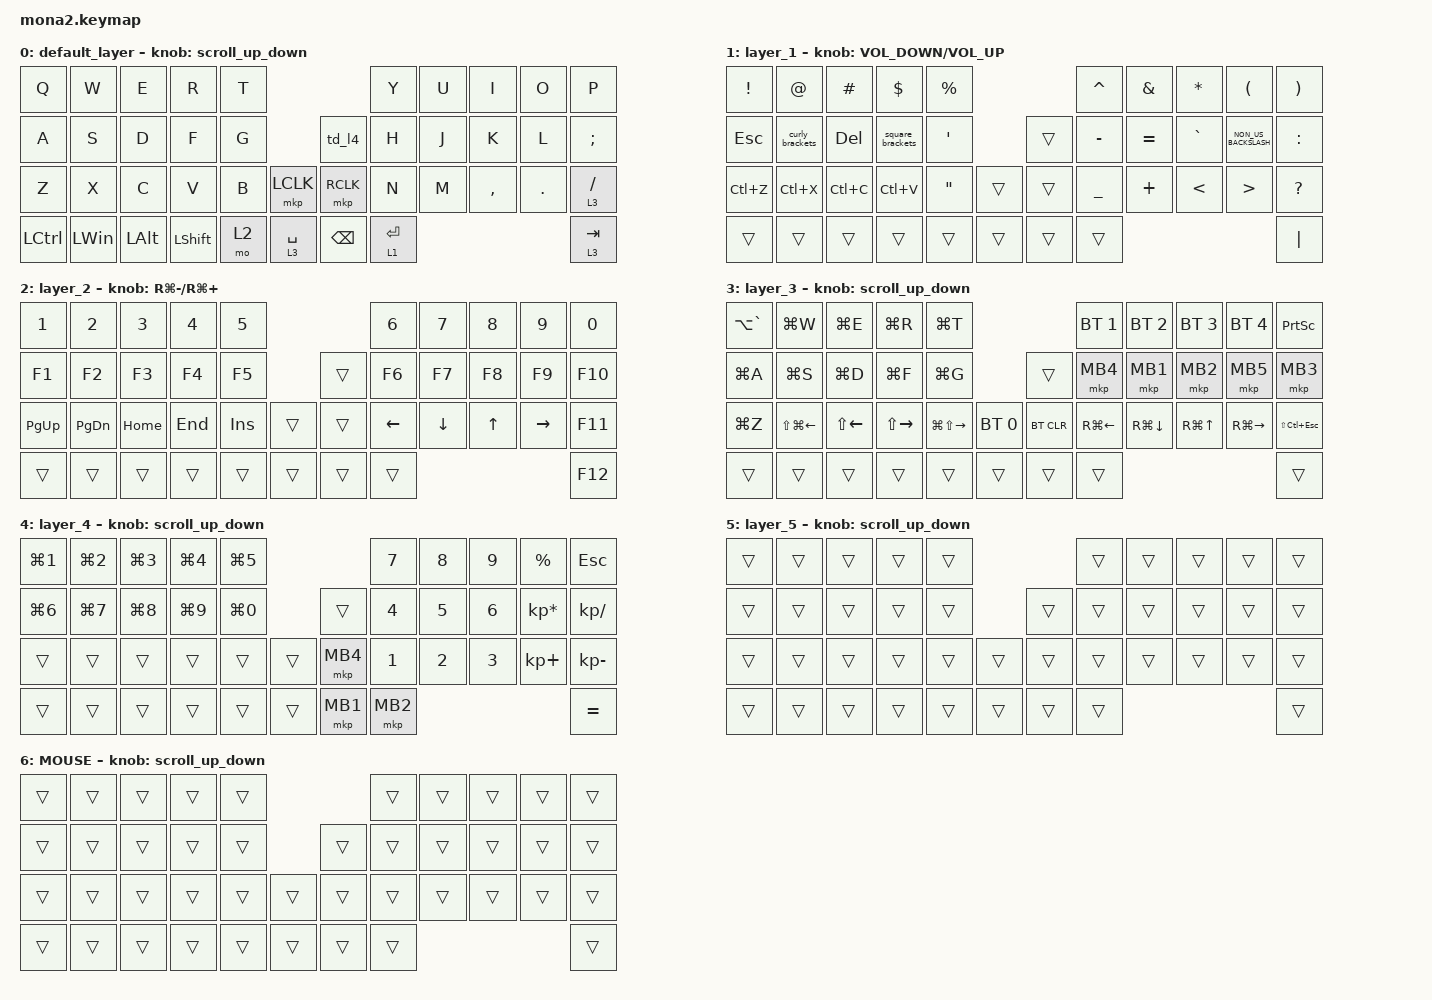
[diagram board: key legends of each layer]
#include <behaviors.dtsi>
#include <dt-bindings/zmk/bt.h>
#include <dt-bindings/zmk/keys.h>
#include <dt-bindings/zmk/pointing.h>

#define ZMK_POINTING_DEFAULT_SCRL_VAL 100
#define MOUSE 6

&mt {
    flavor = "balanced";
    quick-tap-ms = <175>;
    require-prior-idle-ms = <150>;
};

&lt {
    flavor = "hold-preferred";
    tapping-term-ms = <200>;
    quick-tap-ms = <200>;
    require-prior-idle-ms = <100>;
};

/ {
    combos { compatible = "zmk,combos"; };

    macros {
        to_layer_0: to_layer_0 {
            compatible = "zmk,behavior-macro-one-param";
            #binding-cells = <1>;
            bindings = <&to 0 &macro_param_1to1 &kp MACRO_PLACEHOLDER>;
            label = "TO_LAYER_0";
        };

        curly_brackets: curly_brackets {
            compatible = "zmk,behavior-macro";
            #binding-cells = <0>;
            bindings = <&kp LEFT_BRACE &kp RIGHT_BRACE &kp LEFT>;
            label = "CURLY_BRACKETS";
        };

        square_brackets: square_brackets {
            compatible = "zmk,behavior-macro";
            #binding-cells = <0>;
            bindings = <&kp LEFT_BRACKET &kp RIGHT_BRACKET &kp LEFT>;
            label = "SQUARE_BRACKETS";
        };
    };

    behaviors {
        lt_to_layer_0: lt_to_layer_0 {
            compatible = "zmk,behavior-hold-tap";
            label = "LAYER_TAP_TO_0";
            bindings = <&mo>, <&to_layer_0>;

            #binding-cells = <2>;
            tapping-term-ms = <200>;
        };

        scroll_up_down: behavior_sensor_rotate_mouse_wheel_up_down {
            compatible = "zmk,behavior-sensor-rotate";
            #sensor-binding-cells = <0>;
            bindings = <&msc SCRL_UP>, <&msc SCRL_DOWN>;

            tap-ms = <20>;
        };

        td_l4: td_l4 {
            compatible = "zmk,behavior-tap-dance";
            label = "TD_L4";
            #binding-cells = <0>;
            tapping-term-ms = <200>;
            bindings = <&kp MINUS>, <&tog 4>;
        };
    };

    keymap {
        compatible = "zmk,keymap";

        default_layer {
            bindings = <
&kp Q      &kp W         &kp E         &kp R           &kp T                                &kp Y        &kp U  &kp I      &kp O       &kp P
&kp A      &kp S         &kp D         &kp F           &kp G                 &td_l4         &kp H        &kp J  &kp K      &kp L       &kp SEMICOLON
&kp Z      &kp X         &kp C         &kp V           &kp B  &mkp LCLK      &mkp RCLK      &kp N        &kp M  &kp COMMA  &kp PERIOD  &lt 3 SLASH
&kp LCTRL  &kp LEFT_WIN  &kp LEFT_ALT  &kp LEFT_SHIFT  &mo 2  &lt 3 SPACE    &kp BACKSPACE  &lt 1 ENTER                                &lt 3 TAB
            >;

            sensor-bindings = <&scroll_up_down>;
        };

        layer_1 {
            bindings = <
&kp EXCLAMATION  &kp AT_SIGN      &kp HASH    &kp DOLLAR        &kp PERCENT                          &kp CARET       &kp AMPERSAND  &kp ASTERISK   &kp LEFT_PARENTHESIS  &kp RIGHT_PARENTHESIS
&kp ESCAPE       &curly_brackets  &kp DELETE  &square_brackets  &kp SQT                      &trans  &kp MINUS       &kp EQUAL      &kp GRAVE      &kp NON_US_BACKSLASH  &kp COLON
&kp LC(Z)        &kp LC(X)        &kp LC(C)   &kp LC(V)         &kp DOUBLE_QUOTES  &trans    &trans  &kp UNDERSCORE  &kp PLUS       &kp LESS_THAN  &kp GREATER_THAN      &kp QUESTION
&trans           &trans           &trans      &trans            &trans             &trans    &trans  &trans                                                              &kp PIPE
            >;

            sensor-bindings = <&inc_dec_kp C_VOLUME_DOWN C_VOLUME_UP>;
        };

        layer_2 {
            bindings = <
&kp NUMBER_1  &kp NUMBER_2   &kp NUMBER_3  &kp NUMBER_4  &kp N5                        &kp NUMBER_6  &kp N7    &kp N8        &kp N9     &kp N0
&kp F1        &kp F2         &kp F3        &kp F4        &kp F5                &trans  &kp F6        &kp F7    &kp F8        &kp F9     &kp F10
&kp PAGE_UP   &kp PAGE_DOWN  &kp HOME      &kp END       &kp INSERT  &trans    &trans  &kp LEFT      &kp DOWN  &kp UP_ARROW  &kp RIGHT  &kp F11
&trans        &trans         &trans        &trans        &trans      &trans    &trans  &trans                                           &kp F12
            >;

            sensor-bindings = <&inc_dec_kp RG(MINUS) RG(PLUS)>;
        };

        layer_3 {
            bindings = <
&kp LA(GRAVE)  &kp LG(W)         &kp LG(E)     &kp LG(R)      &kp LG(T)                                      &bt BT_SEL 1  &bt BT_SEL 2  &bt BT_SEL 3      &bt BT_SEL 4   &kp PRINTSCREEN
&kp LG(A)      &kp LG(S)         &kp LG(D)     &kp LG(F)      &kp LG(G)                          &trans      &mkp MB4      &mkp MB1      &mkp MB2          &mkp MB5       &mkp MB3
&kp LG(Z)      &kp LS(LG(LEFT))  &kp LS(LEFT)  &kp LS(RIGHT)  &kp LG(LS(RIGHT))  &bt BT_SEL 0    &bt BT_CLR  &kp RG(LEFT)  &kp RG(DOWN)  &kp RG(UP_ARROW)  &kp RG(RIGHT)  &kp LS(LC(ESCAPE))
&trans         &trans            &trans        &trans         &trans             &trans          &trans      &trans                                                       &trans
            >;

            sensor-bindings = <&scroll_up_down>;
        };

        layer_4 {
            bindings = <
&kp LG(NUMBER_1)  &kp LG(NUMBER_2)  &kp LG(NUMBER_3)  &kp LG(NUMBER_4)  &kp LG(N5)                      &kp N7        &kp N8        &kp N9        &kp PERCENT      &kp ESCAPE
&kp LG(NUMBER_6)  &kp LG(N7)        &kp LG(N8)        &kp LG(N9)        &kp LG(N0)            &trans    &kp NUMBER_4  &kp N5        &kp NUMBER_6  &kp KP_ASTERISK  &kp KP_DIVIDE
&trans            &trans            &trans            &trans            &trans      &trans    &mkp MB4  &kp NUMBER_1  &kp NUMBER_2  &kp NUMBER_3  &kp KP_PLUS      &kp KP_MINUS
&trans            &trans            &trans            &trans            &trans      &trans    &mkp MB1  &mkp MB2                                                   &kp EQUAL
            >;

            sensor-bindings = <&scroll_up_down>;
        };

        layer_5 {
            bindings = <
&trans  &trans  &trans  &trans  &trans                    &trans  &trans  &trans  &trans  &trans
&trans  &trans  &trans  &trans  &trans            &trans  &trans  &trans  &trans  &trans  &trans
&trans  &trans  &trans  &trans  &trans  &trans    &trans  &trans  &trans  &trans  &trans  &trans
&trans  &trans  &trans  &trans  &trans  &trans    &trans  &trans                          &trans
            >;

            sensor-bindings = <&scroll_up_down>;
        };

        MOUSE {
            bindings = <
&trans  &trans  &trans  &trans  &trans                    &trans  &trans  &trans  &trans  &trans
&trans  &trans  &trans  &trans  &trans            &trans  &trans  &trans  &trans  &trans  &trans
&trans  &trans  &trans  &trans  &trans  &trans    &trans  &trans  &trans  &trans  &trans  &trans
&trans  &trans  &trans  &trans  &trans  &trans    &trans  &trans                          &trans
            >;

            sensor-bindings = <&scroll_up_down>;
        };
    };
};
